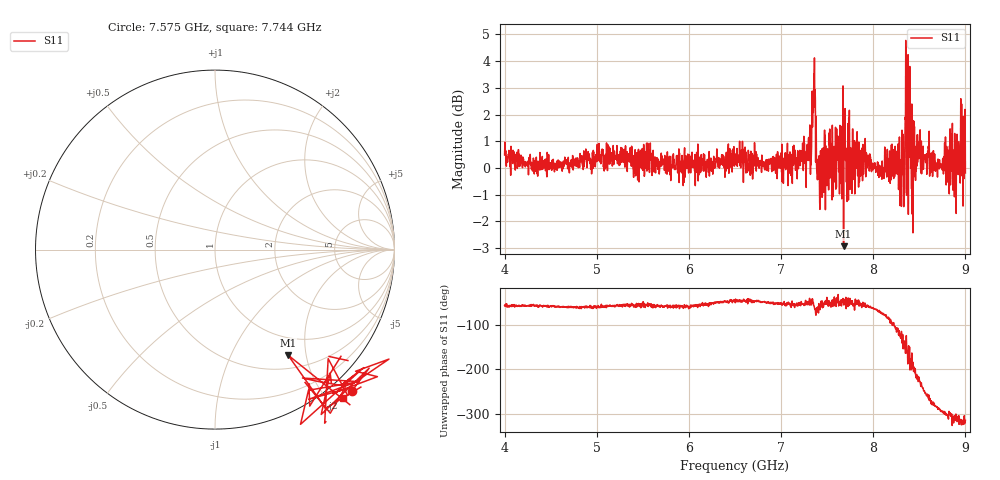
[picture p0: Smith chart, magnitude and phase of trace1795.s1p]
! Created with skrf 1.8.0 (http://scikit-rf.org).
# Hz S RI R 50.0
!freq ReS11 ImS11
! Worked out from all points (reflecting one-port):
!   1601 points, 4 GHz to 9 GHz, reference 50 ohm
!   lowest |S11| = -2.9 dB at 7.678 GHz (marker M1), VSWR 5.99, Z = 35.2 - j84.2 ohm
!   phase of S11 starts at -56 deg and turns -259 deg over the sweep
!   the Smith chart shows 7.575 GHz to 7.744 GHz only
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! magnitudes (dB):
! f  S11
! 4 GHz  0.5
! 4.625 GHz  -0.1
! 5.25 GHz  0.1
! 5.875 GHz  0.2
! 6.5 GHz  0.2
! 7.125 GHz  0.4
! 7.294 GHz  0.6
! 7.356 GHz  3.5
! 7.412 GHz  0.5
! 7.453 GHz  0.1
! 7.575 GHz  0.8
! 7.678 GHz  -2.9
! 7.703 GHz  0.5
! 7.75 GHz  -0.6
! 8.097 GHz  0.3
! 8.262 GHz  -0.2
! 8.316 GHz  0.4
! 8.334 GHz  0.2
! 8.347 GHz  1.9
! 8.375 GHz  1.6
! 8.403 GHz  1.6
! 8.406 GHz  0.0
! 8.447 GHz  1.5
! 8.459 GHz  -0.5
! 8.7 GHz  0.3
! 8.888 GHz  -0.2
! 8.972 GHz  0.7
! 9 GHz  -0.2
